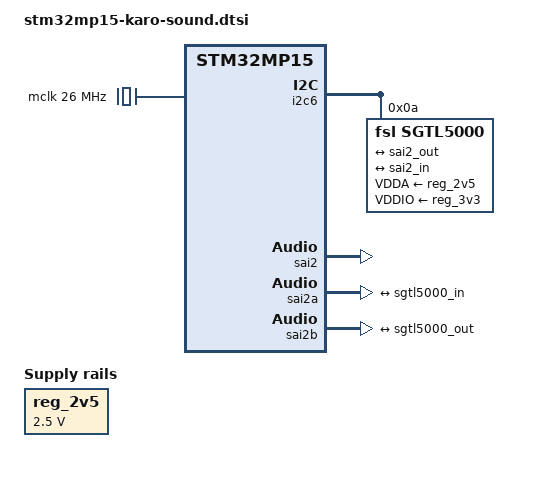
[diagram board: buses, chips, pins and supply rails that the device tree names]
// SPDX-License-Identifier: (GPL-2.0-only OR BSD-3-Clause)

#include <dt-bindings/clock/stm32mp1-clks.h>
#include <dt-bindings/gpio/gpio.h>
#include <dt-bindings/interrupt-controller/arm-gic.h>

&{/} {
	mclk: codec-mclk {
		compatible = "fixed-clock";
		#clock-cells = <0>;
		clock-frequency = <26000000>;
	};

	reg_2v5: regulator-2v5 {
		compatible = "regulator-fixed";
		regulator-name = "2v5";
		regulator-min-microvolt = <2500000>;
		regulator-max-microvolt = <2500000>;
		regulator-always-on;
	};

	sound {
		compatible = "karo,stm32mp15-sgtl5000",
			     "audio-graph-card";
		label = "TXMP-SGTL5000";
		widgets =
			"Microphone", "Mic Jack",
			"Line", "Line In",
			"Line", "Line Out",
			"Headphone", "Headphone Jack";
		routing =
			"MIC_IN", "Mic Jack",
			"Mic Jack", "Mic Bias",
			"Headphone Jack", "HP_OUT";
		dais = <&sai2a_port &sai2b_port>;
		status = "okay";
	};
};

&i2c6 {
	status = "okay";

	sgtl5000: codec@a {
		compatible = "fsl,sgtl5000";
		#sound-dai-cells = <0>;
		reg = <0xa>;
		VDDA-supply = <&reg_2v5>;
		VDDIO-supply = <&reg_3v3>;
		clocks = <&sai2a>;
		status = "okay";

		port {
			sgtl5000_in: tx_endpoint {
				remote-endpoint = <&sai2_out>;
			};

			sgtl5000_out: rx_endpoint {
				remote-endpoint = <&sai2_in>;
			};
		};
	};
};

&sai2 {
	clocks = <&rcc SAI2>, <&rcc PLL3_Q>, <&rcc PLL3_R>;
	clock-names = "pclk", "x8k", "x11k";
	status = "okay";
};

&sai2a {
	#clock-cells = <0>;
	dma-names = "tx";
	status = "okay";

	sai2a_port: port {
		sai2_out: endpoint {
			remote-endpoint = <&sgtl5000_in>;
			dai-format = "i2s";
			bitclock-master = <&sgtl5000>;
			frame-master = <&sgtl5000>;
			mclk-fs = <256>;
		};
	};
};

&sai2b {
	dma-names = "rx";
	clocks = <&rcc SAI2_K>, <&sai2a>;
	clock-names = "sai_ck", "MCLK";
	st,sync = <&sai2a 2>;
	status = "okay";

	sai2b_port: port {
		sai2_in: endpoint {
			remote-endpoint = <&sgtl5000_out>;
			dai-format = "i2s";
			bitclock-master = <&sgtl5000>;
			frame-master = <&sgtl5000>;
			mclk-fs = <256>;
		};
	};
};
